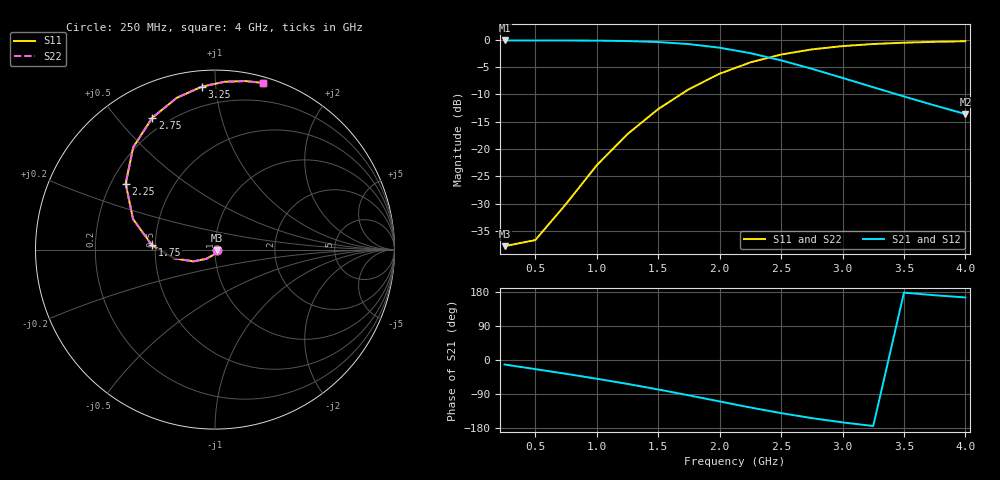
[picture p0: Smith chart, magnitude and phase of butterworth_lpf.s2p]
! 3rd-Order 2.4 GHz Butterworth Low-Pass Filter (Lossy Passive L-C-L Ladder)
# GHz S MA R 50
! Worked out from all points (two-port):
!   16 points, 250 MHz to 4 GHz, reference 50 ohm
!   highest |S21| = -0.16 dB at 250 MHz (marker M1); lowest = -13.6 dB at 4 GHz (marker M2)
!   |S21| within 3 dB of the highest: start of sweep to 2.379 GHz
!   lowest |S11| = -37.8 dB at 250 MHz (marker M3), VSWR 1.03, Z = 51.3 - j0.382 ohm
!   |S11| at or under -10 dB: start of sweep to 1.686 GHz
!   |S22| runs from -37.8 to -0.3 dB; largest |S21 - S12| = 0
!   S11 on the Smith chart (normalised r, x): 250 MHz: 1.03, -0.01; 1.75 GHz: 0.48, +0.03; 2.25 GHz: 0.26, +0.31; 2.75 GHz: 0.14, +0.62; 3.25 GHz: 0.09, +0.92; 4 GHz: 0.05, +1.32
0.25  0.01293 -16.7  0.9817 -12.0  0.9817 -12.0  0.01293 -16.7
0.5  0.01471 -60.8  0.9815 -24.1  0.9815 -24.1  0.01471 -60.8
0.75  0.03144 -108.1  0.9807 -36.5  0.9807 -36.5  0.03144 -108.1
1  0.07098 -133.5  0.9779 -49.4  0.9779 -49.4  0.07098 -133.5
1.25  0.1369 -151.4  0.9695 -63.1  0.9695 -63.1  0.1369 -151.4
1.5  0.2316 -167.7  0.9494 -77.7  0.9494 -77.7  0.2316 -167.7
1.75  0.3523 176.0  0.9094 -93.3  0.9094 -93.3  0.3523 176.0
2  0.4876 159.6  0.8428 -109.4  0.8428 -109.4  0.4876 159.6
2.25  0.6189 143.5  0.7513 -125.3  0.7513 -125.3  0.6189 143.5
2.5  0.7299 128.6  0.6458 -140.2  0.6458 -140.2  0.7299 128.6
2.75  0.8135 115.5  0.5407 -153.3  0.5407 -153.3  0.8135 115.5
3  0.8718 104.2  0.4464 -164.6  0.4464 -164.6  0.8718 104.2
3.25  0.9109 94.7  0.3668 -174.2  0.3668 -174.2  0.9109 94.7
3.5  0.9368 86.6  0.302 177.7  0.302 177.7  0.9368 86.6
3.75  0.954 79.9  0.2501 170.9  0.2501 170.9  0.954 79.9
4  0.9657 74.1  0.2086 165.1  0.2086 165.1  0.9657 74.1
